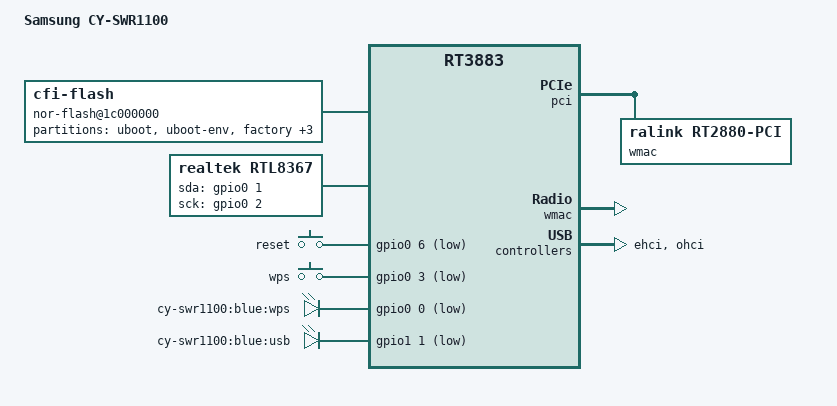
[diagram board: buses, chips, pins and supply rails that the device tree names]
/dts-v1/;

#include "rt3883.dtsi"

/ {
	compatible = "CY-SWR1100", "ralink,rt3883-soc";
	model = "Samsung CY-SWR1100";

	nor-flash@1c000000 {
		compatible = "cfi-flash";
		reg = <0x1c000000 0x800000>;
		bank-width = <2>;
		#address-cells = <1>;
		#size-cells = <1>;

		partition@0 {
			label = "uboot";
			reg = <0x0 0x30000>;
			read-only;
		};

		partition@30000 {
			label = "uboot-env";
			reg = <0x30000 0x4000>;
			read-only;
		};

		factory: partition@34000 {
			label = "factory";
			reg = <0x34000 0x4000>;
			read-only;
		};

		partition@38000 {
			label = "nvram";
			reg = <0x38000 0x8000>;
			read-only;
		};

		partition@40000 {
			label = "devdata";
			reg = <0x40000 0x10000>;
		};

		partition@50000 {
			label = "firmware";
			reg = <0x50000 0x7b0000>;
		};
	};

	rtl8367 {
		compatible = "realtek,rtl8367";
		gpio-sda = <&gpio0 1 0>;
		gpio-sck = <&gpio0 2 0>;
		realtek,extif0 = <1 0 1 1 1 1 1 1 2>;
	};

	gpio-keys-polled {
		compatible = "gpio-keys-polled";
		#address-cells = <1>;
		#size-cells = <0>;
		poll-interval = <100>;

		reset {
			label = "reset";
			gpios = <&gpio0 6 1>;
			linux,code = <0x198>;
		};

		wps {
			label = "wps";
			gpios = <&gpio0 3 1>;
			linux,code = <0x211>;
		};
	};

	gpio-leds {
		compatible = "gpio-leds";

		wps {
			label = "cy-swr1100:blue:wps";
			gpios = <&gpio0 0 1>;
		};

		usb {
			label = "cy-swr1100:blue:usb";
			gpios = <&gpio1 1 1>;
		};
	};
};

&gpio1 {
	status = "okay";
};

&pinctrl {
	state_default: pinctrl0 {
		gpio {
			ralink,group = "i2c", "spi";
			ralink,function = "gpio";
		};
	};
};

&ethernet {
	port@0 {
		mediatek,fixed-link = <1000 1 1 1>;
		phy-mode = "rgmii";
	};
};

&pci {
	status = "okay";
	pinctrl-names = "default";
	pinctrl-0 = <&pci_pins>;

	pci_pins: pci {
		pci {
			ralink,group = "pci";
			ralink,function = "pci-fnc";
		};
	};

	host-bridge {
		pci-bridge@1 {
			status = "okay";

			wmac@0,0 {
				ralink,5ghz = <0>;
				compatible = "ralink,rt2880-pci", "pciclass060400", "pciclass0604";
				reg = < 0x10000 0 0 0 0 >;
				ralink,eeprom = "rt2x00pci_1_0.eeprom";
			};
		};
	};
};

&wmac {
	status = "okay";
	ralink,2ghz = <0>;
	ralink,mtd-eeprom = <&factory 0>;
};

&ehci {
	status = "okay";
};

&ohci {
	status = "okay";
};
